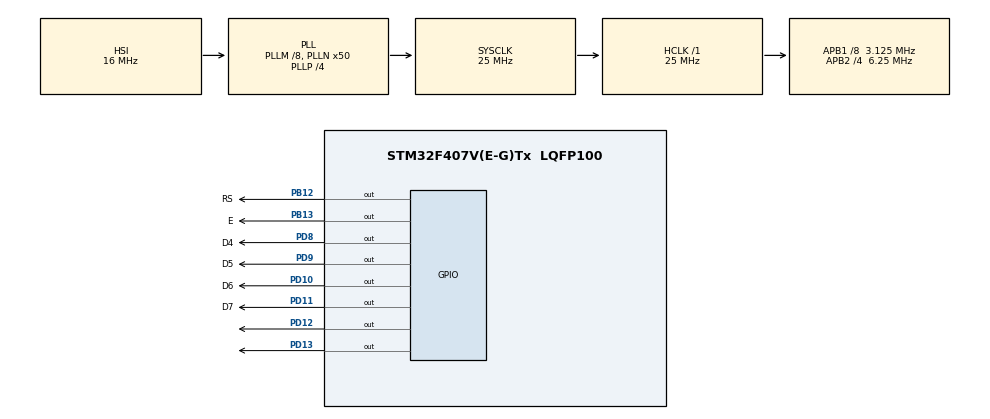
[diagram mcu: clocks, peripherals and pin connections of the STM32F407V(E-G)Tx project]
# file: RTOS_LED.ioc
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FREERTOS.BinarySemaphores01=myBinarySem01,Dynamic,NULL;myBinarySem02,Dynamic,NULL
FREERTOS.Mutexes01=myMutex01,Dynamic,NULL
FREERTOS.Tasks01=myTask01,24,128,Task1,Default,NULL,Dynamic,NULL,NULL;myTask02,24,128,Task02,Default,NULL,Dynamic,NULL,NULL
Mcu.Family=STM32F4
Mcu.Name=STM32F407V(E-G)Tx
Mcu.Package=LQFP100
NVIC.PriorityGroup=NVIC_PRIORITYGROUP_4
NVIC.TIM7_IRQn=true\:0\:0\:false\:false\:true\:false\:false\:true
NVIC.TimeBase=TIM7_IRQn
NVIC.TimeBaseIP=TIM7
PB12.GPIO_Label=RS
PB12.Signal=GPIO_Output
PB13.GPIO_Label=E
PB13.Signal=GPIO_Output
PD10.GPIO_Label=D6
PD10.Signal=GPIO_Output
PD11.GPIO_Label=D7
PD11.Signal=GPIO_Output
PD12.Signal=GPIO_Output
PD13.Signal=GPIO_Output
PD8.GPIO_Label=D4
PD8.Signal=GPIO_Output
PD9.GPIO_Label=D5
PD9.Signal=GPIO_Output
ProjectManager.HeapSize=0x200
ProjectManager.StackSize=0x400
ProjectManager.TargetToolchain=MDK-ARM V5.27
RCC.48MHZClocksFreq_Value=14285714.285714285
RCC.AHBFreq_Value=25000000
RCC.APB1CLKDivider=RCC_HCLK_DIV8
RCC.APB1Freq_Value=3125000
RCC.APB1TimFreq_Value=6250000
RCC.APB2CLKDivider=RCC_HCLK_DIV4
RCC.APB2Freq_Value=6250000
RCC.APB2TimFreq_Value=12500000
RCC.CortexFreq_Value=25000000
RCC.HCLKFreq_Value=25000000
RCC.HSE_VALUE=8000000
RCC.HSI_VALUE=16000000
RCC.LSE_VALUE=32768
RCC.PLLM=8
RCC.PLLN=50
RCC.PLLP=RCC_PLLP_DIV4
RCC.PLLQ=7
RCC.SYSCLKFreq_VALUE=25000000
RCC.SYSCLKSource=RCC_SYSCLKSOURCE_PLLCLK
RCC.VCOOutputFreq_Value=100000000
VP_FREERTOS_VS_CMSIS_V2.Mode=CMSIS_V2
VP_SYS_VS_tim7.Mode=TIM7
board=STM32F407G-DISC1

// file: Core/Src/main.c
/* USER CODE BEGIN Header */
/**
  ******************************************************************************
  * @file           : main.c
  * @brief          : Main program body
  ******************************************************************************
  * @attention
  *
  * <h2><center>&copy; Copyright (c) 2020 STMicroelectronics.
  * All rights reserved.</center></h2>
  *
  * This software component is licensed by ST under Ultimate Liberty license
  * SLA0044, the "License"; You may not use this file except in compliance with
  * the License. You may obtain a copy of the License at:
  *                             www.st.com/SLA0044
  *
  ******************************************************************************
  */
/* USER CODE END Header */
#include "main.h"
#include "cmsis_os.h"
#include "STM_MY_LCD16X2.h"

/* Definitions for myTask01 */
osThreadId_t myTask01Handle;
const osThreadAttr_t myTask01_attributes = {
  .name = "myTask01",
  .priority = (osPriority_t) osPriorityNormal,
  .stack_size = 128 * 4
};
/* Definitions for myTask02 */
osThreadId_t myTask02Handle;
const osThreadAttr_t myTask02_attributes = {
  .name = "myTask02",
  .priority = (osPriority_t) osPriorityNormal,
  .stack_size = 128 * 4
};
/* Definitions for myMutex01 */
osMutexId_t myMutex01Handle;
const osMutexAttr_t myMutex01_attributes = {
  .name = "myMutex01"
};
/* Definitions for myBinarySem01 */
osSemaphoreId_t myBinarySem01Handle;
const osSemaphoreAttr_t myBinarySem01_attributes = {
  .name = "myBinarySem01"
};
/* Definitions for myBinarySem02 */
osSemaphoreId_t myBinarySem02Handle;
const osSemaphoreAttr_t myBinarySem02_attributes = {
  .name = "myBinarySem02"
};

void SystemClock_Config(void);
static void MX_GPIO_Init(void);
void Task1(void *argument);
void Task02(void *argument);

int main(void)
{

  /* MCU Configuration--------------------------------------------------------*/

  /* Reset of all peripherals, Initializes the Flash interface and the Systick. */
  HAL_Init();

  /* Configure the system clock */
  SystemClock_Config();

  /* Initialize all configured peripherals */
  MX_GPIO_Init();
  /* USER CODE BEGIN 2 */
	LCD1602_Begin4BIT(RS_GPIO_Port, RS_Pin, E_Pin, D4_GPIO_Port, D4_Pin, D5_Pin, D6_Pin, D7_Pin);
  /* USER CODE END 2 */

  /* Init scheduler */
  osKernelInitialize();
  /* Create the mutex(es) */
  /* creation of myMutex01 */
  myMutex01Handle = osMutexNew(&myMutex01_attributes);

  /* Create the semaphores(s) */
  /* creation of myBinarySem01 */
  myBinarySem01Handle = osSemaphoreNew(1, 1, &myBinarySem01_attributes);

  /* creation of myBinarySem02 */
  myBinarySem02Handle = osSemaphoreNew(1, 0, &myBinarySem02_attributes);

  /* Create the thread(s) */
  /* creation of myTask01 */
  myTask01Handle = osThreadNew(Task1, NULL, &myTask01_attributes);

  /* creation of myTask02 */
  myTask02Handle = osThreadNew(Task02, NULL, &myTask02_attributes);

  /* Start scheduler */
  osKernelStart();

  /* We should never get here as control is now taken by the scheduler */
  /* Infinite loop */
  while (1)
  {

  }
}

void SystemClock_Config(void)
{
  RCC_OscInitTypeDef RCC_OscInitStruct = {0};
  RCC_ClkInitTypeDef RCC_ClkInitStruct = {0};

  /** Configure the main internal regulator output voltage
  */
  __HAL_RCC_PWR_CLK_ENABLE();
  __HAL_PWR_VOLTAGESCALING_CONFIG(PWR_REGULATOR_VOLTAGE_SCALE1);
  /** Initializes the RCC Oscillators according to the specified parameters
  * in the RCC_OscInitTypeDef structure.
  */
  RCC_OscInitStruct.OscillatorType = RCC_OSCILLATORTYPE_HSI;
  RCC_OscInitStruct.HSIState = RCC_HSI_ON;
  RCC_OscInitStruct.HSICalibrationValue = RCC_HSICALIBRATION_DEFAULT;
  RCC_OscInitStruct.PLL.PLLState = RCC_PLL_ON;
  RCC_OscInitStruct.PLL.PLLSource = RCC_PLLSOURCE_HSI;
  RCC_OscInitStruct.PLL.PLLM = 8;
  RCC_OscInitStruct.PLL.PLLN = 50;
  RCC_OscInitStruct.PLL.PLLP = RCC_PLLP_DIV4;
  RCC_OscInitStruct.PLL.PLLQ = 7;
  if (HAL_RCC_OscConfig(&RCC_OscInitStruct) != HAL_OK)
  {
    Error_Handler();
  }
  /** Initializes the CPU, AHB and APB buses clocks
  */
  RCC_ClkInitStruct.ClockType = RCC_CLOCKTYPE_HCLK|RCC_CLOCKTYPE_SYSCLK
                              |RCC_CLOCKTYPE_PCLK1|RCC_CLOCKTYPE_PCLK2;
  RCC_ClkInitStruct.SYSCLKSource = RCC_SYSCLKSOURCE_PLLCLK;
  RCC_ClkInitStruct.AHBCLKDivider = RCC_SYSCLK_DIV1;
  RCC_ClkInitStruct.APB1CLKDivider = RCC_HCLK_DIV8;
  RCC_ClkInitStruct.APB2CLKDivider = RCC_HCLK_DIV4;

  if (HAL_RCC_ClockConfig(&RCC_ClkInitStruct, FLASH_LATENCY_0) != HAL_OK)
  {
    Error_Handler();
  }
}

static void MX_GPIO_Init(void)
{
  GPIO_InitTypeDef GPIO_InitStruct = {0};

  /* GPIO Ports Clock Enable */
  __HAL_RCC_GPIOB_CLK_ENABLE();
  __HAL_RCC_GPIOD_CLK_ENABLE();

  /*Configure GPIO pin Output Level */
  HAL_GPIO_WritePin(GPIOB, RS_Pin|E_Pin, GPIO_PIN_RESET);

  /*Configure GPIO pin Output Level */
  HAL_GPIO_WritePin(GPIOD, D4_Pin|D5_Pin|D6_Pin|D7_Pin
                          |GPIO_PIN_12|GPIO_PIN_13, GPIO_PIN_RESET);

  /*Configure GPIO pins : RS_Pin E_Pin */
  GPIO_InitStruct.Pin = RS_Pin|E_Pin;
  GPIO_InitStruct.Mode = GPIO_MODE_OUTPUT_PP;
  GPIO_InitStruct.Pull = GPIO_NOPULL;
  GPIO_InitStruct.Speed = GPIO_SPEED_FREQ_LOW;
  HAL_GPIO_Init(GPIOB, &GPIO_InitStruct);

  /*Configure GPIO pins : D4_Pin D5_Pin D6_Pin D7_Pin
                           PD12 PD13 */
  GPIO_InitStruct.Pin = D4_Pin|D5_Pin|D6_Pin|D7_Pin
                          |GPIO_PIN_12|GPIO_PIN_13;
  GPIO_InitStruct.Mode = GPIO_MODE_OUTPUT_PP;
  GPIO_InitStruct.Pull = GPIO_NOPULL;
  GPIO_InitStruct.Speed = GPIO_SPEED_FREQ_LOW;
  HAL_GPIO_Init(GPIOD, &GPIO_InitStruct);

}

void Task1(void *argument)
{
  /* USER CODE BEGIN 5 */
  /* Infinite loop */
  for(;;)
  {
		osSemaphoreAcquire(myBinarySem01Handle,portMAX_DELAY);
		//osMutexWait(myMutex01Handle,portMAX_DELAY);
    HAL_GPIO_TogglePin(GPIOD,GPIO_PIN_12);
    osDelay(500);
		HAL_GPIO_TogglePin(GPIOD,GPIO_PIN_12);
		LCD1602_print("Task 1");
		LCD1602_2ndLine();
		LCD1602_print("Task 1");
		HAL_Delay(1000);
		LCD1602_clear();

		//osMutexRelease(myMutex01Handle);
		osSemaphoreRelease(myBinarySem02Handle);
  }
  /* USER CODE END 5 */
}

void Task02(void *argument)
{
  /* USER CODE BEGIN Task02 */
  /* Infinite loop */
  for(;;)
  {
		osSemaphoreAcquire(myBinarySem02Handle,portMAX_DELAY);
		//osMutexWait(myMutex01Handle,portMAX_DELAY);
		HAL_GPIO_TogglePin(GPIOD,GPIO_PIN_13);
    osDelay(200);
		HAL_GPIO_TogglePin(GPIOD,GPIO_PIN_13);
		LCD1602_print("Task 2");
		LCD1602_2ndLine();
		LCD1602_print("Task 2");
		HAL_Delay(1000);
		LCD1602_clear();
		//osMutexRelease(myMutex01Handle);
		//osDelay(100);
		osSemaphoreRelease(myBinarySem01Handle);
  }
  /* USER CODE END Task02 */
}

 /**
  * @brief  Period elapsed callback in non blocking mode
  * @note   This function is called  when TIM7 interrupt took place, inside
  * HAL_TIM_IRQHandler(). It makes a direct call to HAL_IncTick() to increment
  * a global variable "uwTick" used as application time base.
  * @param  htim : TIM handle
  * @retval None
  */
void HAL_TIM_PeriodElapsedCallback(TIM_HandleTypeDef *htim)
{
  if (htim->Instance == TIM7) {
    HAL_IncTick();
  }
}

void Error_Handler(void)
{
  __disable_irq();
  while (1)
  {
  }
}

/************************ (C) COPYRIGHT STMicroelectronics *****END OF FILE****/
